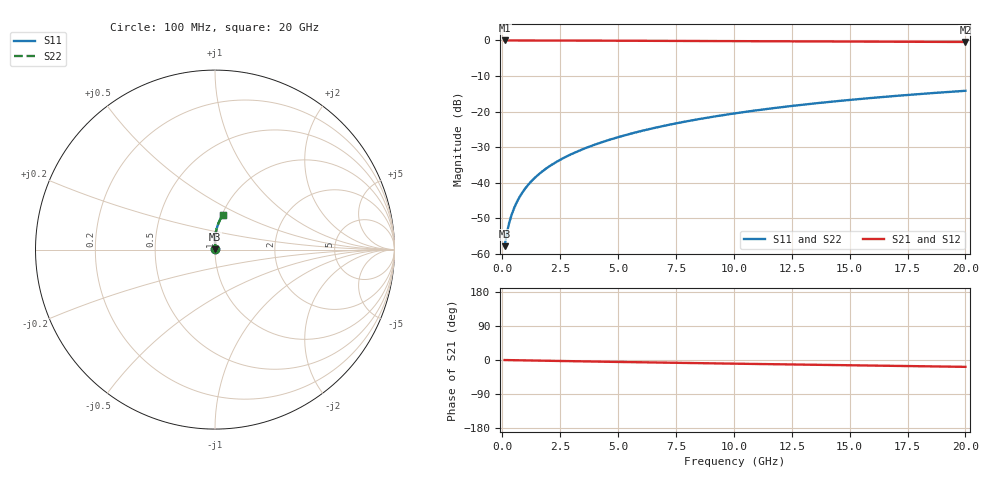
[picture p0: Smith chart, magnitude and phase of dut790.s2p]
! Touchstone file exported from HFSS 2024.1.0
!  File:  C:/UserFiles/LocalFiles/RDL_TSV_Batchsim/temp_RDL_bottom_790_1779861451.aedt
!  Generated:  02:00:01 PM May 27, 2026
!  Design:  RDL_bottom
!  Project:  temp_RDL_bottom_790_1779861451
!  Setup:  Setup1
!  Solution:  Sweep
! Variables:
!  dtsv = 10.80580581um
!  hbump = 3um
!  htsv = 72.89um
!  ldown = 218.97um
!  lrdl = 100um
!  p = 40
!  p1 = 56.59um
!  rhole = 1um
!  t = 450um
!  tdown = 4.26um
!  trdl = 3.915915916um
!  wdown = 24.84um
!  wrdl = 20um
# GHz S MA R 50.000000
! Terminal data exported
! Port[1] = RDL1_T1
! Port[2] = RDL1_T2
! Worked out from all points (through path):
!   200 points, 100 MHz to 20 GHz, reference 50 ohm
!   highest |S21| = -0.01 dB at 100 MHz (marker M1); lowest = -0.4 dB at 20 GHz (marker M2)
!   group delay of S21, straight-line fit = 2.48 ps
!   lowest |S11| = -57.8 dB at 100 MHz (marker M3), VSWR 1.00, Z = 50.1 + j0.0904 ohm
!   |S11| at or under -10 dB: start of sweep to end of sweep
!   |S22| runs from -57.8 to -14.1 dB; largest |S21 - S12| = 3e-15
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0.1  0.001292 44.3  0.9991 -0.1  0.9991 -0.1  0.001292 44.3
! Gamma 0 0 0 0
! Port Impedance 50 0 50 0
0.2  0.002003 60.9  0.999 -0.2  0.999 -0.2  0.002003 60.9
0.3  0.002762 68.7  0.9989 -0.3  0.9989 -0.3  0.002762 68.7
0.4  0.003543 73.3  0.9989 -0.4  0.9989 -0.4  0.003543 73.3
0.5  0.004339 76.4  0.9988 -0.5  0.9988 -0.5  0.004339 76.4
0.6  0.005145 78.6  0.9987 -0.6  0.9987 -0.6  0.005145 78.6
0.8  0.006774 81.5  0.9986 -0.9  0.9986 -0.9  0.006774 81.5
1.1  0.009247 84.0  0.9984 -1.2  0.9984 -1.2  0.009247 84.0
1.5  0.01258 86.0  0.998 -1.6  0.998 -1.6  0.01258 86.0
1.8  0.0151 87.0  0.9976 -1.9  0.9976 -1.9  0.0151 87.0
2.1  0.01765 87.7  0.9971 -2.2  0.9971 -2.2  0.01765 87.7
2.7  0.02282 88.7  0.9961 -2.8  0.9961 -2.8  0.02282 88.7
3.5  0.0299 89.6  0.9945 -3.6  0.9945 -3.6  0.0299 89.6
4.2  0.03628 90.0  0.9928 -4.3  0.9928 -4.3  0.03628 90.0
5  0.04378 90.2  0.9908 -5.1  0.9908 -5.1  0.04379 90.2
5.9  0.05247 90.1  0.9884 -6.0  0.9884 -6.0  0.05247 90.1
6.8  0.06138 89.8  0.9859 -6.8  0.9859 -6.8  0.06138 89.8
8.4  0.07761 88.8  0.9816 -8.3  0.9816 -8.3  0.07762 88.9
10.1  0.0952 87.5  0.977 -9.7  0.977 -9.7  0.0952 87.5
13.4  0.1295 84.3  0.9685 -12.6  0.9685 -12.6  0.1295 84.3
16.7  0.1634 81.0  0.96 -15.3  0.96 -15.3  0.1634 81.0
20  0.1963 77.7  0.9514 -18.1  0.9514 -18.1  0.1963 77.7
